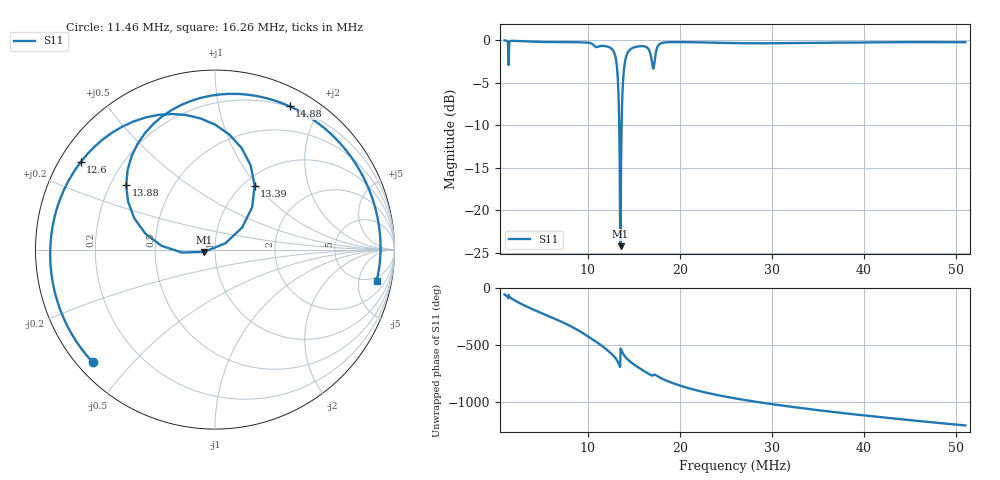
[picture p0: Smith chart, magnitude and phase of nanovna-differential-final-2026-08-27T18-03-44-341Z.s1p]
! Differential Probe final recorded trace; specimen=unspecified; calibration=load Es Er cal'ed
# Hz S RI R 50
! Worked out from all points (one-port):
!   1010 points, 1 MHz to 51 MHz, reference 50 ohm
!   lowest |S11| = -24.2 dB at 13.59 MHz (marker M1), VSWR 1.13, Z = 44.3 - j1.15 ohm
!   |S11| at or under -10 dB: 13.44 MHz to 13.7 MHz (258.6 kHz wide, 1.91 % of centre)
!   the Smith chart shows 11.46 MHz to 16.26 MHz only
!   S11 on the Smith chart (normalised r, x): 11.46 MHz: 0.04, -0.39; 12.6 MHz: 0.06, +0.30; 13.39 MHz: 1.12, +0.97; 13.88 MHz: 0.27, +0.30; 14.88 MHz: 0.19, +1.63; 16.26 MHz: 4.01, -8.75
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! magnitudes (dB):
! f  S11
! 1 MHz  0.0
! 1.496 MHz  -0.4
! 7.293 MHz  -0.2
! 11.46 MHz  -0.7
! 12.6 MHz  -1.0
! 12.94 MHz  -1.6
! 13.14 MHz  -2.7
! 13.24 MHz  -3.8
! 13.34 MHz  -5.8
! 13.39 MHz  -7.5
! 13.54 MHz  -23.3
! 13.59 MHz  -24.2
! 13.74 MHz  -8.0
! 13.78 MHz  -6.3
! 13.88 MHz  -4.3
! 13.98 MHz  -3.1
! 14.18 MHz  -2.0
! 14.88 MHz  -0.9
! 16.26 MHz  -0.7
! 16.61 MHz  -1.0
! 17.11 MHz  -3.3
! 17.85 MHz  -0.4
! 19.78 MHz  -0.2
! 26.02 MHz  -0.3
! 32.27 MHz  -0.3
! 38.51 MHz  -0.3
! 44.76 MHz  -0.2
! 51 MHz  -0.2
